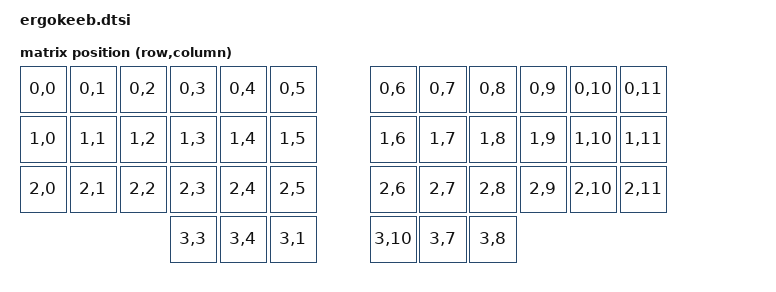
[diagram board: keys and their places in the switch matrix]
#include <dt-bindings/zmk/matrix_transform.h>
#include <dt-bindings/led/led.h>
#include <physical_layouts.dtsi>

&pinctrl {
    spi1_default: spi1_default {
        group1 {
            psels = <NRF_PSEL(SPIM_MOSI, 0, 6)>;
        };
    };
    spi1_sleep: spi1_sleep {
        group1 {
            psels = <NRF_PSEL(SPIM_MOSI, 0, 6)>;
            low-power-enable;
        };
    };
};

&spi1 {
    compatible = "nordic,nrf-spim";
    status = "okay";
    pinctrl-0 = <&spi1_default>;
    pinctrl-1 = <&spi1_sleep>;
    pinctrl-names = "default", "sleep";

    led_strip: ws2812@0 {
        compatible = "worldsemi,ws2812-spi";
        reg = <0>;
        spi-max-frequency = <4000000>;
        
        chain-length = <21>;
        spi-one-frame = <0x70>;
        spi-zero-frame = <0x40>;
        
        color-mapping = <LED_COLOR_ID_GREEN LED_COLOR_ID_RED LED_COLOR_ID_BLUE>;
    };
};

/ {
    chosen {
        zmk,kscan = &kscan0;
        zmk,matrix-transform = &default_transform0;
        zmk,underglow = &led_strip;
    };

    kscan0: kscan {
        compatible = "zmk,kscan-gpio-matrix";
        wakeup-source;
        diode-direction = "row2col";
    };

    default_transform0: keymap_transform {
        compatible = "zmk,matrix-transform";
        columns = <12>;
        rows = <4>;

        //      | SW0  | SW1  | SW2  | SW3  | SW4  | SW5  |                  | SW6  | SW7  | SW8  | SW9  | SW10 | SW11 |
        //      | SW12 | SW13 | SW14 | SW15 | SW16 | SW17 |                  | SW18 | SW19 | SW20 | SW21 | SW22 | SW23 |
        //      | SW24 | SW25 | SW26 | SW27 | SW28 | SW29 |                  | SW30 | SW31 | SW32 | SW33 | SW34 | SW35 |
        //                           | SW36 | SW37 | SW38 |                  | SW39 | SW40 | SW41 |
        map = <
            RC(0,0) RC(0,1) RC(0,2) RC(0,3) RC(0,4) RC(0,5)                  RC(0,6) RC(0,7) RC(0,8)  RC(0,9) RC(0,10) RC(0,11)
            RC(1,0) RC(1,1) RC(1,2) RC(1,3) RC(1,4) RC(1,5)                  RC(1,6) RC(1,7) RC(1,8)  RC(1,9) RC(1,10) RC(1,11)
            RC(2,0) RC(2,1) RC(2,2) RC(2,3) RC(2,4) RC(2,5)                  RC(2,6) RC(2,7) RC(2,8)  RC(2,9) RC(2,10) RC(2,11)
                                    RC(3,3) RC(3,4) RC(3,1)                  RC(3,10) RC(3,7) RC(3,8)
        >;
        // Jumper from main board to thumb cluster contains pins C5, C4, R3, C2 and not C6, thus the strange config of SW38 and SW39
    };
};
